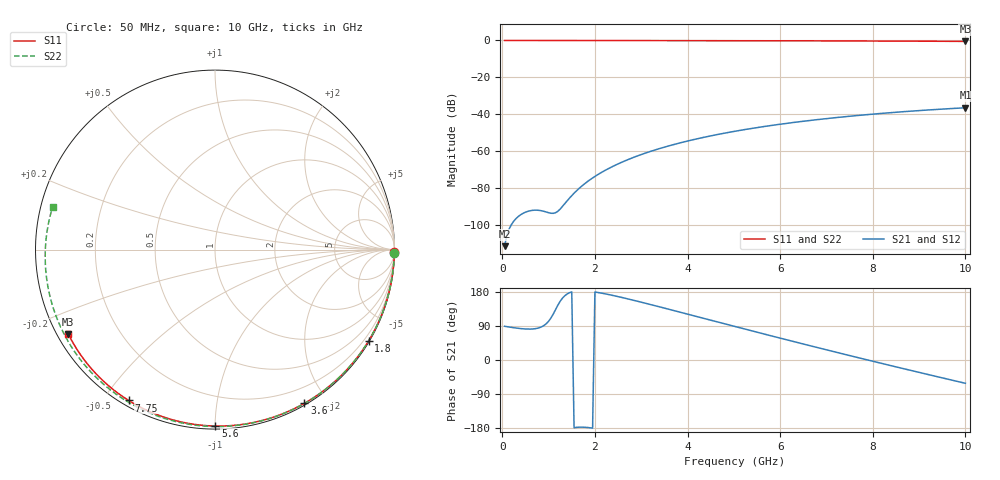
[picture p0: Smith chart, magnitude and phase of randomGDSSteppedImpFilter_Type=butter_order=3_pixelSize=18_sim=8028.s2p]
! freq	dB(S11)	phase(S11)	dB(S12)	phase(S12)
!  dB(S21)	phase(S21)	dB(S22)	phase(S22)
!S-par simulation data
#  GHz  S  DB  R 50
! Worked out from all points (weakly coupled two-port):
!   200 points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, 50 MHz to 10 GHz, reference 50 ohm
!   highest |S21| = -36.42 dB at 10 GHz (marker M1); lowest = -111.3 dB at 50 MHz (marker M2)
!   lowest |S11| = -0.5 dB at 10 GHz (marker M3), VSWR 34.14, Z = 1.57 - j13.4 ohm
!   |S11| at or under -10 dB: nowhere
!   |S22| runs from -0.6 to 0.0 dB; largest |S21 - S12| = 0
!   S11 on the Smith chart (normalised r, x): 50 MHz: open; 1.8 GHz: 0.03, -3.64; 3.6 GHz: 0.02, -1.74; 5.6 GHz: 0.02, -1.00; 7.75 GHz: 0.02, -0.58; 10 GHz: 0.03, -0.27
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0.05  -0.00 -0.8  -111.29 89.0  -111.29 89.0  -0.00 -1.1
0.45  -0.01 -7.8  -93.49 82.3  -93.49 82.3  -0.02 -10.4
0.8  -0.02 -13.8  -91.93 85.1  -91.93 85.1  -0.02 -18.4
1.2  -0.03 -20.6  -92.40 144.7  -92.40 144.7  -0.03 -27.5
1.65  -0.04 -28.2  -80.23 -177.3  -80.23 -177.3  -0.05 -37.6
1.75  -0.04 -29.9  -78.08 -177.3  -78.08 -177.3  -0.05 -39.8
1.8  -0.04 -30.7  -77.09 -177.6  -77.09 -177.6  -0.05 -40.9
2.1  -0.05 -35.7  -72.00 177.5  -72.00 177.5  -0.06 -47.5
2.5  -0.05 -42.3  -66.78 167.3  -66.78 167.3  -0.07 -56.1
2.9  -0.06 -48.7  -62.63 155.6  -62.63 155.6  -0.08 -64.5
3.4  -0.08 -56.7  -58.45 140.1  -58.45 140.1  -0.10 -74.8
3.6  -0.08 -59.9  -57.00 133.8  -57.00 133.8  -0.10 -78.8
4.3  -0.10 -70.7  -52.68 111.5  -52.68 111.5  -0.13 -92.5
5.05  -0.13 -81.9  -49.00 87.6  -49.00 87.6  -0.16 -106.6
5.6  -0.15 -89.9  -46.76 70.2  -46.76 70.2  -0.19 -116.7
6.15  -0.17 -97.7  -44.82 53.0  -44.82 53.0  -0.22 -126.5
6.7  -0.21 -105.4  -43.11 36.0  -43.11 36.0  -0.26 -136.2
7.25  -0.24 -113.0  -41.62 19.2  -41.62 19.2  -0.30 -145.7
7.75  -0.28 -119.8  -40.41 4.2  -40.41 4.2  -0.34 -154.4
8.35  -0.33 -127.9  -39.13 -13.7  -39.13 -13.7  -0.40 -164.9
9.2  -0.41 -139.3  -37.60 -38.5  -37.60 -38.5  -0.49 -180.0
10  -0.51 -150.1  -36.42 -61.4  -36.42 -61.4  -0.58 165.2
